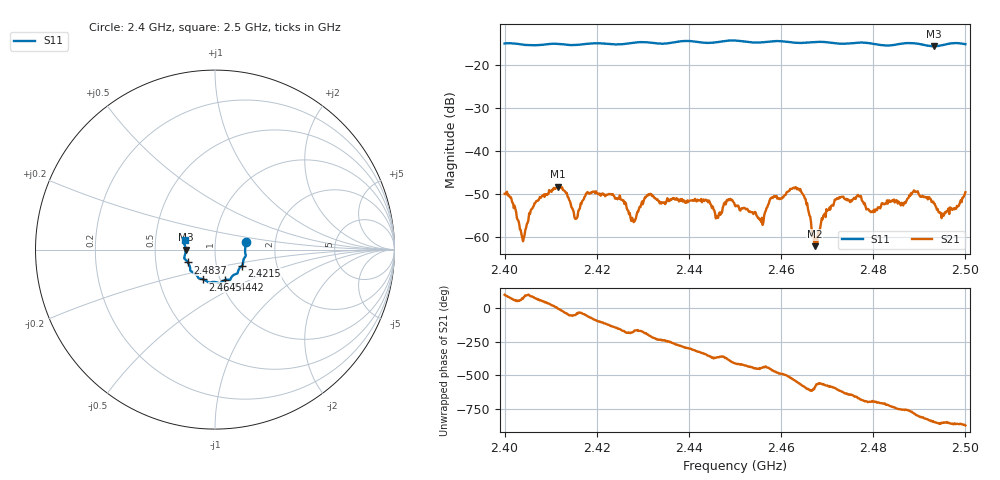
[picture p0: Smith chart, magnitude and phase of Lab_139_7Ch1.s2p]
# Hz S RI R 50
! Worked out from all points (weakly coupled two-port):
!   601 points, 2.4 GHz to 2.5 GHz, reference 50 ohm
!   highest |S21| = -48.31 dB at 2.4115 GHz (marker M1); lowest = -62.1 dB at 2.4673 GHz (marker M2)
!   lowest |S11| = -15.7 dB at 2.4932 GHz (marker M3), VSWR 1.39, Z = 36 - j0.0517 ohm
!   |S11| at or under -10 dB: start of sweep to end of sweep
!   S12 and S22 are empty: the file has one direction only
!   S11 on the Smith chart (normalised r, x): 2.4 GHz: 1.41, +0.12; 2.4215 GHz: 1.33, -0.25; 2.4442 GHz: 1.05, -0.37; 2.4645 GHz: 0.83, -0.29; 2.4837 GHz: 0.73, -0.11; 2.5 GHz: 0.71, +0.07
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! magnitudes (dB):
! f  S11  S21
! 2.4 GHz  -15.1  -50.0
! 2.404 GHz  -15.4  -61.0
! 2.4067 GHz  -15.5  -52.1
! 2.4115 GHz  -15.2  -48.3
! 2.4153 GHz  -15.5  -55.8
! 2.4167 GHz  -15.3  -52.3
! 2.4215 GHz  -15.1  -50.2
! 2.4278 GHz  -14.9  -56.0
! 2.4333 GHz  -15.1  -51.6
! 2.4442 GHz  -15.0  -52.0
! 2.45 GHz  -14.4  -52.8
! 2.4557 GHz  -14.8  -56.5
! 2.4582 GHz  -14.6  -51.0
! 2.4645 GHz  -15.0  -49.7
! 2.4667 GHz  -14.8  -58.7
! 2.4673 GHz  -14.7  -62.1
! 2.4722 GHz  -15.1  -51.0
! 2.4833 GHz  -15.6  -51.6
! 2.4837 GHz  -15.5  -51.9
! 2.4932 GHz  -15.7  -52.2
! 2.4953 GHz  -15.4  -55.0
! 2.5 GHz  -15.2  -49.6
